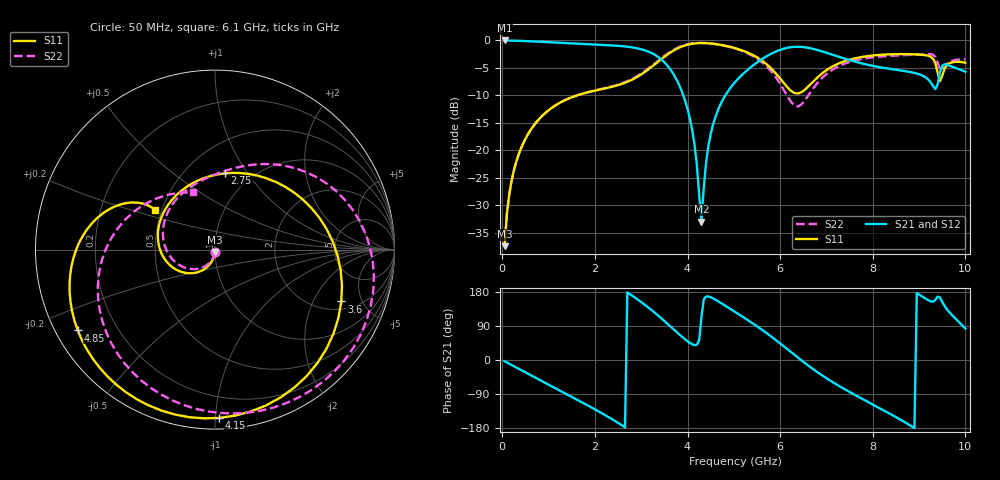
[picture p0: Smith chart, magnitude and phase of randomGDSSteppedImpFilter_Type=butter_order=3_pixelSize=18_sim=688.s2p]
! freq	dB(S11)	phase(S11)	dB(S12)	phase(S12)
!  dB(S21)	phase(S21)	dB(S22)	phase(S22)
!S-par simulation data
#  GHz  S  DB  R 50
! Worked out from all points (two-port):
!   200 points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, 50 MHz to 10 GHz, reference 50 ohm
!   highest |S21| = -0.01 dB at 50 MHz (marker M1); lowest = -33.0 dB at 4.3 GHz (marker M2)
!   |S21| within 3 dB of the highest: start of sweep to 3.364 GHz; 5.684 GHz to 7.276 GHz (1.592 GHz wide, 24.6 % of centre)
!   lowest |S11| = -37.5 dB at 50 MHz (marker M3), VSWR 1.03, Z = 49.9 - j1.34 ohm
!   |S11| at or under -10 dB: start of sweep to 1.619 GHz
!   |S22| runs from -37.5 to -0.4 dB; largest |S21 - S12| = 0
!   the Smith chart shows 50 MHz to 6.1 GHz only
!   S11 on the Smith chart (normalised r, x): 50 MHz: 1.00, -0.03; 2.75 GHz: 0.76, +0.79; 3.6 GHz: 2.46, -3.37; 4.15 GHz: 0.07, -1.02; 4.85 GHz: 0.06, -0.27; 6.1 GHz: 0.46, +0.24
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0.05  -37.46 -92.2  -0.01 -3.3  -0.01 -3.3  -37.47 -92.9
0.2  -25.57 -101.7  -0.03 -13.2  -0.03 -13.2  -25.58 -104.6
0.5  -17.91 -119.5  -0.12 -32.7  -0.12 -32.7  -17.92 -126.7
1.15  -11.82 -157.5  -0.39 -74.6  -0.39 -74.6  -11.82 -172.9
1.75  -9.66 165.6  -0.65 -113.5  -0.65 -113.5  -9.65 146.1
2.75  -7.36 82.5  -1.20 174.4  -1.20 174.4  -7.21 84.5
3.4  -3.64 3.8  -3.23 113.6  -3.23 113.6  -3.47 39.6
3.6  -2.38 -22.3  -4.95 91.8  -4.95 91.8  -2.23 21.2
4.15  -0.56 -88.5  -18.92 39.3  -18.92 39.3  -0.49 -35.4
4.3  -0.49 -103.7  -32.98 112.8  -32.98 112.8  -0.44 -50.4
4.5  -0.57 -121.9  -17.04 165.6  -17.04 165.6  -0.55 -69.4
4.85  -1.04 -149.5  -9.55 140.6  -9.55 140.6  -1.07 -101.2
5.05  -1.47 -163.5  -7.37 125.1  -7.37 125.1  -1.54 -119.2
5.55  -3.34 165.1  -3.73 84.7  -3.73 84.7  -3.61 -168.3
6.1  -7.98 146.5  -1.45 34.1  -1.45 34.1  -9.32 111.3
6.7  -7.60 168.2  -1.52 -23.1  -1.52 -23.1  -8.89 -40.3
7.4  -3.76 140.7  -3.33 -77.6  -3.33 -77.6  -4.21 -119.8
8.35  -2.54 85.9  -5.15 -140.4  -5.15 -140.4  -2.82 170.4
9.25  -2.97 13.6  -7.63 154.6  -7.63 154.6  -2.51 94.8
9.4  -5.84 -5.8  -8.03 167.1  -8.03 167.1  -3.99 72.4
9.5  -6.40 12.4  -4.59 153.5  -4.59 153.5  -5.41 77.0
10  -4.06 -38.5  -5.69 83.2  -5.69 83.2  -3.46 19.4
